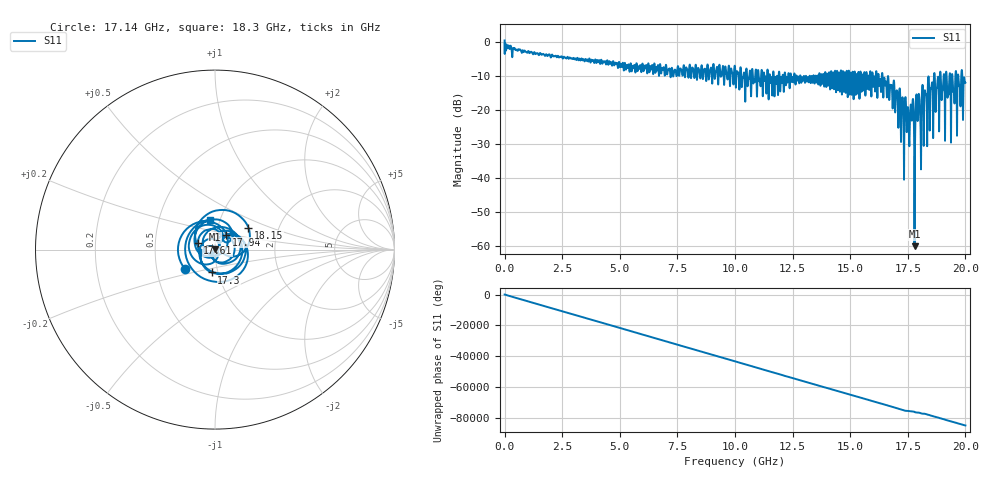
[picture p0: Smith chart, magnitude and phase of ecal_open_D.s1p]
! MS46122B
! 2250307/22442219
! 7/24/2025 12:33:41 PM
! C:\USERS\SPARKY\DOCUMENTS\VNA_DATA\JULY24_2025\295K\ECAL_OPEN.S1P
! CHANNEL.1
! TR.MEASUREMENT
! RAW.DATA
# GHZ S RI R 50.0
! FREQ.GHZ  S11RE  S11IM
!; PortSelection: Port_1
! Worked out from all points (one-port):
!   10001 points, 1 MHz to 20 GHz, reference 50 ohm
!   lowest |S11| = -60.1 dB at 17.79 GHz (marker M1), VSWR 1.00, Z = 50 + j0.0977 ohm
!   |S11| at or under -10 dB: 12.84 GHz to 13.24 GHz (400.1 MHz wide, 3.07 % of centre); 16.4 GHz to 18.64 GHz (2.234 GHz wide, 12.8 % of centre); 18.67 GHz to 18.89 GHz (223.7 MHz wide, 1.19 % of centre) (the widest 3 of 89)
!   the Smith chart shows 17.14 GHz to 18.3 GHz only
!   S11 on the Smith chart (normalised r, x): 17.14 GHz: 0.70, -0.16; 17.3 GHz: 0.93, -0.24; 17.61 GHz: 0.82, +0.06; 17.94 GHz: 1.12, +0.19; 18.15 GHz: 1.40, +0.36; 18.3 GHz: 0.89, +0.31
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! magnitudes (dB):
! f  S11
! 1 MHz  0.4
! 2.501 GHz  -4.5
! 5.001 GHz  -7.0
! 7.501 GHz  -8.0
! 10 GHz  -7.4
! 11.54 GHz  -12.1
! 12.5 GHz  -10.3
! 15 GHz  -11.3
! 16.57 GHz  -12.3
! 16.96 GHz  -18.7
! 17.14 GHz  -14.0
! 17.3 GHz  -17.8
! 17.5 GHz  -19.2
! 17.61 GHz  -19.7
! 17.68 GHz  -23.1
! 17.73 GHz  -17.1
! 17.79 GHz  -60.1
! 17.86 GHz  -16.3
! 17.94 GHz  -19.7
! 18 GHz  -16.5
! 18.15 GHz  -13.0
! 18.2 GHz  -25.6
! 18.26 GHz  -15.3
! 18.3 GHz  -15.4
! 18.99 GHz  -15.1
! 19.45 GHz  -12.1
! 19.51 GHz  -15.0
! 20 GHz  -12.0
